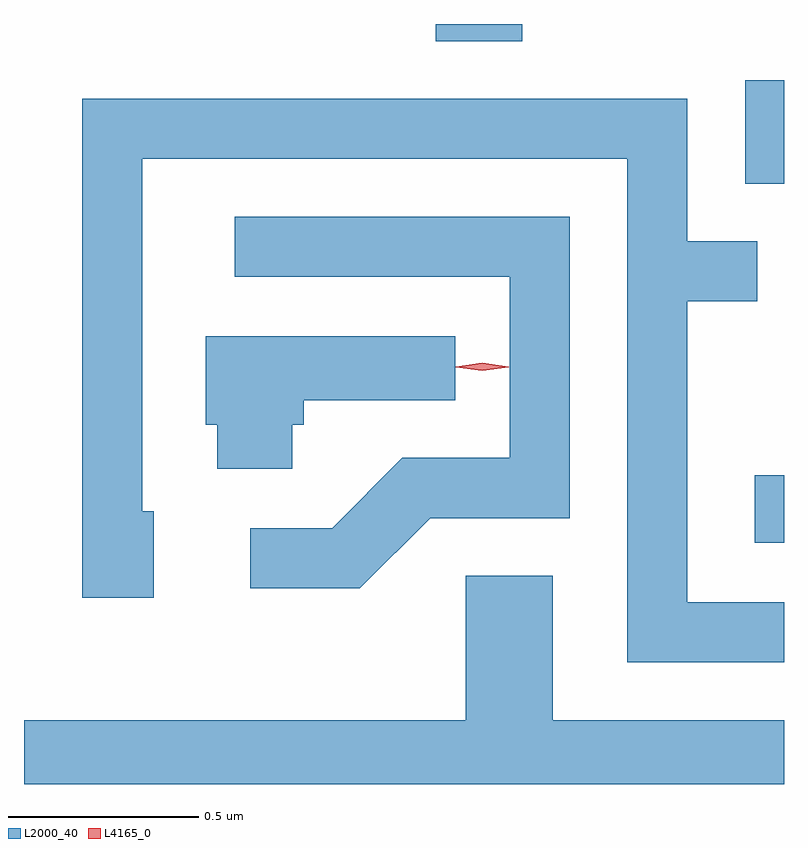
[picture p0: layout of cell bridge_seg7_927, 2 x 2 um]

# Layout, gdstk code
import gdstk
lib = gdstk.Library(unit=1e-6, precision=1e-09)
def R(c, l, rs):  # rectangles x0, y0, x1, y1
    for r in rs: c.add(gdstk.rectangle(r[:2], r[2:], *l))
def P(c, l, *ps):  # polygons
    for p in ps: c.add(gdstk.Polygon(p, *l))
L2000_40 = (2000, 40)
L4165_0 = (4165, 0)

bridge_seg7_927 = lib.new_cell('bridge_seg7_927')
R(bridge_seg7_927, L2000_40, [(558.591,1695.071,558.668,1695.249), (558.566,1696.016,558.668,1696.288), (557.751,1696.391,557.979,1696.436)])
P(bridge_seg7_927, L2000_40, [(558.668,1694.914),(558.414,1694.914),(558.414,1695.706),(558.598,1695.706),(558.598,1695.864),(558.414,1695.864),(558.414,1696.239),(556.821,1696.239),(556.821,1694.926),(557.009,1694.926),(557.009,1695.154),(556.979,1695.154),(556.979,1696.081),(558.256,1696.081),(558.256,1694.756),(558.668,1694.756)],
  [(557.737,1695.136),(558.104,1695.136),(558.104,1695.929),(557.223,1695.929),(557.223,1695.771),(557.946,1695.771),(557.946,1695.294),(557.664,1695.294),(557.479,1695.109),(557.263,1695.109),(557.263,1694.951),(557.552,1694.951)],
  [(557.374,1695.381),(557.404,1695.381),(557.404,1695.446),(557.803,1695.446),(557.803,1695.614),(557.146,1695.614),(557.146,1695.381),(557.176,1695.381),(557.176,1695.266),(557.374,1695.266)],
  [(558.668,1694.604),(558.059,1694.604),(558.059,1694.984),(557.831,1694.984),(557.831,1694.604),(556.668,1694.604),(556.668,1694.436),(558.668,1694.436)])
P(bridge_seg7_927, L4165_0, [(557.874,1695.523),(557.807,1695.533),(557.807,1695.533),(557.807,1695.534),(557.874,1695.543),(557.94,1695.534),(557.941,1695.533),(557.94,1695.533)],
  [(557.874,1695.524),(557.804,1695.533),(557.804,1695.534),(557.804,1695.534),(557.874,1695.544),(557.943,1695.534),(557.943,1695.534),(557.943,1695.533)])

lib.write_gds('bridge_seg7_927.gds')
